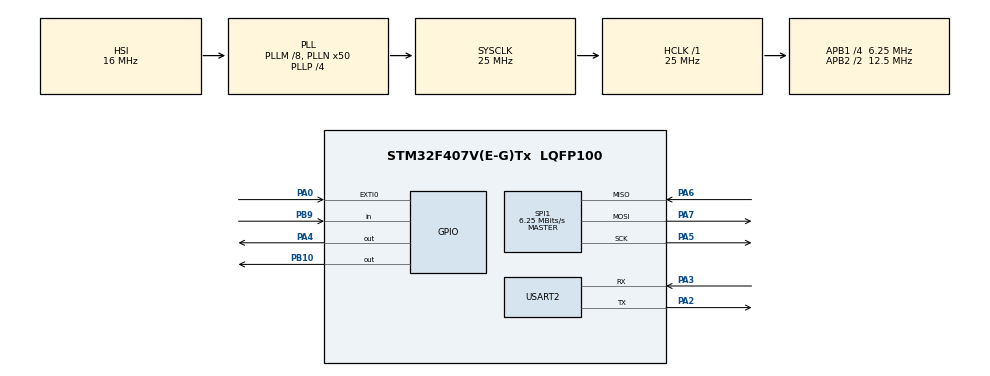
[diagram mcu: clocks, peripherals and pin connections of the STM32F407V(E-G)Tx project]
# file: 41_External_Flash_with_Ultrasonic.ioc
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Mcu.Family=STM32F4
Mcu.Name=STM32F407V(E-G)Tx
Mcu.Package=LQFP100
NVIC.EXTI0_IRQn=true\:0\:0\:false\:false\:true\:true\:true\:true
NVIC.PriorityGroup=NVIC_PRIORITYGROUP_0
PA0-WKUP.Signal=GPXTI0
PA2.Mode=Asynchronous
PA2.Signal=USART2_TX
PA3.Mode=Asynchronous
PA3.Signal=USART2_RX
PA4.Signal=GPIO_Output
PA5.Mode=Full_Duplex_Master
PA5.Signal=SPI1_SCK
PA6.Mode=Full_Duplex_Master
PA6.Signal=SPI1_MISO
PA7.Mode=Full_Duplex_Master
PA7.Signal=SPI1_MOSI
PB10.Signal=GPIO_Output
PB9.Signal=GPIO_Input
PH0-OSC_IN.Mode=HSE-External-Oscillator
PH0-OSC_IN.Signal=RCC_OSC_IN
PH1-OSC_OUT.Mode=HSE-External-Oscillator
PH1-OSC_OUT.Signal=RCC_OSC_OUT
ProjectManager.HeapSize=0x200
ProjectManager.StackSize=0x400
ProjectManager.TargetToolchain=STM32CubeIDE
RCC.48MHZClocksFreq_Value=14285714.285714285
RCC.AHBFreq_Value=25000000
RCC.APB1CLKDivider=RCC_HCLK_DIV4
RCC.APB1Freq_Value=6250000
RCC.APB1TimFreq_Value=12500000
RCC.APB2CLKDivider=RCC_HCLK_DIV2
RCC.APB2Freq_Value=12500000
RCC.APB2TimFreq_Value=25000000
RCC.CortexFreq_Value=25000000
RCC.HCLKFreq_Value=25000000
RCC.HSE_VALUE=8000000
RCC.HSI_VALUE=16000000
RCC.PLLM=8
RCC.PLLN=50
RCC.PLLP=RCC_PLLP_DIV4
RCC.PLLQ=7
RCC.SYSCLKFreq_VALUE=25000000
RCC.SYSCLKSource=RCC_SYSCLKSOURCE_PLLCLK
RCC.VCOOutputFreq_Value=100000000
SPI1.CalculateBaudRate=6.25 MBits/s
SPI1.Direction=SPI_DIRECTION_2LINES
SPI1.Mode=SPI_MODE_MASTER
SPI1.VirtualType=VM_MASTER
USART2.VirtualMode=VM_ASYNC
VP_TIM3_VS_ClockSourceINT.Mode=Internal
board=STM32F407G-DISC1

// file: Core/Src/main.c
/* USER CODE BEGIN Header */
/**
  ******************************************************************************
  * @file           : main.c
  * @brief          : Main program body
  ******************************************************************************
  * @attention
  *
  * Copyright (c) 2026 STMicroelectronics.
  * All rights reserved.
  *
  * This software is licensed under terms that can be found in the LICENSE file
  * in the root directory of this software component.
  * If no LICENSE file comes with this software, it is provided AS-IS.
  *
  ******************************************************************************
  */
/* USER CODE END Header */
#include "main.h"

/* USER CODE BEGIN Includes */
#include <stdio.h>
#include <string.h>

/* USER CODE END Includes */

/* USER CODE BEGIN PD */
#define BASE_ADDRESS           0x000000

#define W25Q_WRITE_ENABLE      0x06
#define W25Q_READ_STATUS_REG1  0x05
#define W25Q_PAGE_PROGRAM      0x02
#define W25Q_READ_DATA         0x03
#define W25Q_SECTOR_ERASE      0x20

#define W25_CS_SELECT() \
        HAL_GPIO_WritePin(GPIOA, GPIO_PIN_4, GPIO_PIN_RESET)

#define W25_CS_DESELECT() \
        HAL_GPIO_WritePin(GPIOA, GPIO_PIN_4, GPIO_PIN_SET)

#define TRIG_PORT GPIOB
#define TRIG_PIN  GPIO_PIN_10

#define ECHO_PORT GPIOB
#define ECHO_PIN  GPIO_PIN_9

/* USER CODE END PD */

SPI_HandleTypeDef hspi1;

TIM_HandleTypeDef htim3;

UART_HandleTypeDef huart2;

void SystemClock_Config(void);
static void MX_GPIO_Init(void);
static void MX_SPI1_Init(void);
static void MX_USART2_UART_Init(void);
static void MX_TIM3_Init(void);
/* USER CODE BEGIN PFP */
void UART_Log(char* msg);

void W25_Wait_Busy(void);
void W25_Write_Enable(void);
void W25_Write_Page(uint32_t address, uint8_t *pData, uint16_t size);
void W25_Read_Data(uint32_t address, uint8_t *pBuffer, uint16_t size);
void W25_Erase_Sector(uint32_t address);

void delay_us(uint16_t us);
int get_distance(void);

/* USER CODE END PFP */

/* USER CODE BEGIN 0 */
int interrupt_count = 0;
volatile uint8_t write_flag = 0;
int distance;

/* USER CODE END 0 */

int main(void)
{

  /* MCU Configuration--------------------------------------------------------*/

  /* Reset of all peripherals, Initializes the Flash interface and the Systick. */
  HAL_Init();

  /* Configure the system clock */
  SystemClock_Config();

  /* Initialize all configured peripherals */
  MX_GPIO_Init();
  MX_SPI1_Init();
  MX_USART2_UART_Init();
  MX_TIM3_Init();
  /* USER CODE BEGIN 2 */
  HAL_TIM_Base_Start(&htim3);

  /* USER CODE END 2 */

  /* Infinite loop */
  while (1)
    {
  	  distance = get_distance();

  	 	  if(write_flag)
  	 	  {
  	 		  UART_Log("Entered\n\r");
  	 	      write_flag = 0;

  	 	      // Check if we have reached our limit (5 readings)
  	 	      if(interrupt_count >= 5)
  	 	      {
  	 	          int32_t history[5];
  	 	          char msg[100];
  	 	          int len;

  	 	          UART_Log("\r\n--- Reading History from External Flash ---\r\n");

  	 	          for(int i = 0; i < 5; i++)
  	 	          {
  	 	              // Read 4 bytes (size of uint32_t) for each reading
  	 	              W25_Read_Data(BASE_ADDRESS + (i * 4), (uint8_t*)&history[i], 4);

  	 	              len = sprintf(msg, "Reading %d: %lu cm\r\n", i + 1, history[i]);
  	 	              HAL_UART_Transmit(&huart2, (uint8_t*)msg, len, 100);
  	 	          }

  	 	          // Erase the sector before we start writing from the beginning again
  	 	          UART_Log("Clearing External Flash Sector...\r\n");
  	 	          W25_Erase_Sector(BASE_ADDRESS);

  	 	          interrupt_count = 0;
  	 	      }

  	 	      // Calculate the byte address for the current 4-byte reading
  	 	      uint32_t current_address = BASE_ADDRESS + (interrupt_count * 4);

  	 	      // Write the distance (cast the pointer to uint8_t for the SPI function)
  	 	      W25_Write_Page(current_address, (uint8_t*)&distance, 4);

  	 	      interrupt_count++;
  	 	  }

    }
}

void UART_Log(char* msg) {
      HAL_UART_Transmit(&huart2, (uint8_t*)msg, strlen(msg), 100);
  }

  void W25_Wait_Busy(void) {
      uint8_t status = 0;
      uint8_t cmd = W25Q_READ_STATUS_REG1;
      do {
          W25_CS_SELECT();
          HAL_SPI_Transmit(&hspi1, &cmd, 1, 100);
          HAL_SPI_Receive(&hspi1, &status, 1, 100);
          W25_CS_DESELECT();
      } while ((status & 0x01) == 0x01); // Wait while BUSY bit is 1
  }

  void W25_Write_Enable(void) {
      uint8_t cmd = W25Q_WRITE_ENABLE;
      W25_CS_SELECT();
      HAL_SPI_Transmit(&hspi1, &cmd, 1, 100);
      W25_CS_DESELECT();
  }

  void W25_Write_Page(uint32_t address, uint8_t *pData, uint16_t size) {
      uint8_t cmd = W25Q_PAGE_PROGRAM;
      uint8_t addr_buf[3];

      // Convert 32-bit address to 3-byte SPI format
      addr_buf[0] = (address >> 16) & 0xFF;
      addr_buf[1] = (address >> 8) & 0xFF;
      addr_buf[2] = address & 0xFF;

      W25_Write_Enable(); // Must enable write latch first
      W25_CS_SELECT();

      HAL_SPI_Transmit(&hspi1, &cmd, 1, 100);      // Send Page Program Command
      HAL_SPI_Transmit(&hspi1, addr_buf, 3, 100);  // Send 24-bit Address
      HAL_SPI_Transmit(&hspi1, pData, size, 100);  // Send Data

      W25_CS_DESELECT();
      W25_Wait_Busy();    // Wait for the flash to finish internal write
  }

  void W25_Read_Data(uint32_t address, uint8_t *pBuffer, uint16_t size) {
      uint8_t cmd = W25Q_READ_DATA;
      uint8_t addr_buf[3];

      addr_buf[0] = (address >> 16) & 0xFF;
      addr_buf[1] = (address >> 8) & 0xFF;
      addr_buf[2] = address & 0xFF;

      W25_CS_SELECT();

      HAL_SPI_Transmit(&hspi1, &cmd, 1, 100);      // Send Read Command
      HAL_SPI_Transmit(&hspi1, addr_buf, 3, 100);  // Send 24-bit Address
      HAL_SPI_Receive(&hspi1, pBuffer, size, 500); // Receive Data

      W25_CS_DESELECT();
  }

  void W25_Erase_Sector(uint32_t address) {
      uint8_t cmd = W25Q_SECTOR_ERASE;
      uint8_t addr_buf[3];

      addr_buf[0] = (address >> 16) & 0xFF;
      addr_buf[1] = (address >> 8) & 0xFF;
      addr_buf[2] = address & 0xFF;

      W25_Write_Enable();
      W25_CS_SELECT();

      HAL_SPI_Transmit(&hspi1, &cmd, 1, 100);
      HAL_SPI_Transmit(&hspi1, addr_buf, 3, 100);

      W25_CS_DESELECT();
      W25_Wait_Busy(); // Erasing takes time (approx 40ms to 400ms)
  }

  void HAL_GPIO_EXTI_Callback(uint16_t GPIO_Pin)
  {
      if(GPIO_Pin == GPIO_PIN_0)
      {
          write_flag = 1;
      }
  }
    void delay_us(uint16_t us)
    {
        __HAL_TIM_SET_COUNTER(&htim3, 0);
        while(__HAL_TIM_GET_COUNTER(&htim3) < us);
    }

    int get_distance(void)
    {
        uint32_t duration = 0;
        uint32_t timeout;

        //  Send TRIG pulse
        HAL_GPIO_WritePin(TRIG_PORT, TRIG_PIN, GPIO_PIN_RESET);
        delay_us(2);

        HAL_GPIO_WritePin(TRIG_PORT, TRIG_PIN, GPIO_PIN_SET);
        delay_us(10);

        HAL_GPIO_WritePin(TRIG_PORT, TRIG_PIN, GPIO_PIN_RESET);
        //  Wait for ECHO HIGH
        timeout = 30000;
        while(HAL_GPIO_ReadPin(ECHO_PORT, ECHO_PIN) == GPIO_PIN_RESET)
        {
      	  if(--timeout == 0) return -1;
        }

        //  Start timer
        __HAL_TIM_SET_COUNTER(&htim3, 0);

        // Wait for ECHO LOW
        timeout = 30000;
        while(HAL_GPIO_ReadPin(ECHO_PORT, ECHO_PIN) == GPIO_PIN_SET)
        {
            if(__HAL_TIM_GET_COUNTER(&htim3) > 30000) break;
        }
        //  Read duration
        duration = __HAL_TIM_GET_COUNTER(&htim3);

        //  Convert to distance
        distance = duration / 58;
        return distance;
    }

void SystemClock_Config(void)
{
  RCC_OscInitTypeDef RCC_OscInitStruct = {0};
  RCC_ClkInitTypeDef RCC_ClkInitStruct = {0};

  /** Configure the main internal regulator output voltage
  */
  __HAL_RCC_PWR_CLK_ENABLE();
  __HAL_PWR_VOLTAGESCALING_CONFIG(PWR_REGULATOR_VOLTAGE_SCALE1);

  /** Initializes the RCC Oscillators according to the specified parameters
  * in the RCC_OscInitTypeDef structure.
  */
  RCC_OscInitStruct.OscillatorType = RCC_OSCILLATORTYPE_HSI;
  RCC_OscInitStruct.HSIState = RCC_HSI_ON;
  RCC_OscInitStruct.HSICalibrationValue = RCC_HSICALIBRATION_DEFAULT;
  RCC_OscInitStruct.PLL.PLLState = RCC_PLL_ON;
  RCC_OscInitStruct.PLL.PLLSource = RCC_PLLSOURCE_HSI;
  RCC_OscInitStruct.PLL.PLLM = 8;
  RCC_OscInitStruct.PLL.PLLN = 50;
  RCC_OscInitStruct.PLL.PLLP = RCC_PLLP_DIV4;
  RCC_OscInitStruct.PLL.PLLQ = 7;
  if (HAL_RCC_OscConfig(&RCC_OscInitStruct) != HAL_OK)
  {
    Error_Handler();
  }

  /** Initializes the CPU, AHB and APB buses clocks
  */
  RCC_ClkInitStruct.ClockType = RCC_CLOCKTYPE_HCLK|RCC_CLOCKTYPE_SYSCLK
                              |RCC_CLOCKTYPE_PCLK1|RCC_CLOCKTYPE_PCLK2;
  RCC_ClkInitStruct.SYSCLKSource = RCC_SYSCLKSOURCE_PLLCLK;
  RCC_ClkInitStruct.AHBCLKDivider = RCC_SYSCLK_DIV1;
  RCC_ClkInitStruct.APB1CLKDivider = RCC_HCLK_DIV4;
  RCC_ClkInitStruct.APB2CLKDivider = RCC_HCLK_DIV2;

  if (HAL_RCC_ClockConfig(&RCC_ClkInitStruct, FLASH_LATENCY_0) != HAL_OK)
  {
    Error_Handler();
  }
}

static void MX_SPI1_Init(void)
{

  /* SPI1 parameter configuration*/
  hspi1.Instance = SPI1;
  hspi1.Init.Mode = SPI_MODE_MASTER;
  hspi1.Init.Direction = SPI_DIRECTION_2LINES;
  hspi1.Init.DataSize = SPI_DATASIZE_8BIT;
  hspi1.Init.CLKPolarity = SPI_POLARITY_LOW;
  hspi1.Init.CLKPhase = SPI_PHASE_1EDGE;
  hspi1.Init.NSS = SPI_NSS_SOFT;
  hspi1.Init.BaudRatePrescaler = SPI_BAUDRATEPRESCALER_2;
  hspi1.Init.FirstBit = SPI_FIRSTBIT_MSB;
  hspi1.Init.TIMode = SPI_TIMODE_DISABLE;
  hspi1.Init.CRCCalculation = SPI_CRCCALCULATION_DISABLE;
  hspi1.Init.CRCPolynomial = 10;
  if (HAL_SPI_Init(&hspi1) != HAL_OK)
  {
    Error_Handler();
  }

}

static void MX_TIM3_Init(void)
{

  TIM_ClockConfigTypeDef sClockSourceConfig = {0};
  TIM_MasterConfigTypeDef sMasterConfig = {0};

  htim3.Instance = TIM3;
  htim3.Init.Prescaler = 15;
  htim3.Init.CounterMode = TIM_COUNTERMODE_UP;
  htim3.Init.Period = 65535;
  htim3.Init.ClockDivision = TIM_CLOCKDIVISION_DIV1;
  htim3.Init.AutoReloadPreload = TIM_AUTORELOAD_PRELOAD_DISABLE;
  if (HAL_TIM_Base_Init(&htim3) != HAL_OK)
  {
    Error_Handler();
  }
  sClockSourceConfig.ClockSource = TIM_CLOCKSOURCE_INTERNAL;
  if (HAL_TIM_ConfigClockSource(&htim3, &sClockSourceConfig) != HAL_OK)
  {
    Error_Handler();
  }
  sMasterConfig.MasterOutputTrigger = TIM_TRGO_RESET;
  sMasterConfig.MasterSlaveMode = TIM_MASTERSLAVEMODE_DISABLE;
  if (HAL_TIMEx_MasterConfigSynchronization(&htim3, &sMasterConfig) != HAL_OK)
  {
    Error_Handler();
  }

}

static void MX_USART2_UART_Init(void)
{

  huart2.Instance = USART2;
  huart2.Init.BaudRate = 115200;
  huart2.Init.WordLength = UART_WORDLENGTH_8B;
  huart2.Init.StopBits = UART_STOPBITS_1;
  huart2.Init.Parity = UART_PARITY_NONE;
  huart2.Init.Mode = UART_MODE_TX_RX;
  huart2.Init.HwFlowCtl = UART_HWCONTROL_NONE;
  huart2.Init.OverSampling = UART_OVERSAMPLING_16;
  if (HAL_UART_Init(&huart2) != HAL_OK)
  {
    Error_Handler();
  }

}

static void MX_GPIO_Init(void)
{
  GPIO_InitTypeDef GPIO_InitStruct = {0};

  /* GPIO Ports Clock Enable */
  __HAL_RCC_GPIOH_CLK_ENABLE();
  __HAL_RCC_GPIOA_CLK_ENABLE();
  __HAL_RCC_GPIOB_CLK_ENABLE();

  /*Configure GPIO pin Output Level */
  HAL_GPIO_WritePin(GPIOA, GPIO_PIN_4, GPIO_PIN_RESET);

  /*Configure GPIO pin Output Level */
  HAL_GPIO_WritePin(GPIOB, GPIO_PIN_10, GPIO_PIN_RESET);

  /*Configure GPIO pin : PA0 */
  GPIO_InitStruct.Pin = GPIO_PIN_0;
  GPIO_InitStruct.Mode = GPIO_MODE_IT_RISING;
  GPIO_InitStruct.Pull = GPIO_NOPULL;
  HAL_GPIO_Init(GPIOA, &GPIO_InitStruct);

  /*Configure GPIO pin : PA4 */
  GPIO_InitStruct.Pin = GPIO_PIN_4;
  GPIO_InitStruct.Mode = GPIO_MODE_OUTPUT_PP;
  GPIO_InitStruct.Pull = GPIO_NOPULL;
  GPIO_InitStruct.Speed = GPIO_SPEED_FREQ_LOW;
  HAL_GPIO_Init(GPIOA, &GPIO_InitStruct);

  /*Configure GPIO pin : PB10 */
  GPIO_InitStruct.Pin = GPIO_PIN_10;
  GPIO_InitStruct.Mode = GPIO_MODE_OUTPUT_PP;
  GPIO_InitStruct.Pull = GPIO_NOPULL;
  GPIO_InitStruct.Speed = GPIO_SPEED_FREQ_LOW;
  HAL_GPIO_Init(GPIOB, &GPIO_InitStruct);

  /*Configure GPIO pin : PB9 */
  GPIO_InitStruct.Pin = GPIO_PIN_9;
  GPIO_InitStruct.Mode = GPIO_MODE_INPUT;
  GPIO_InitStruct.Pull = GPIO_NOPULL;
  HAL_GPIO_Init(GPIOB, &GPIO_InitStruct);

  /* EXTI interrupt init*/
  HAL_NVIC_SetPriority(EXTI0_IRQn, 0, 0);
  HAL_NVIC_EnableIRQ(EXTI0_IRQn);

}

void Error_Handler(void)
{
  __disable_irq();
  while (1)
  {
  }
}
